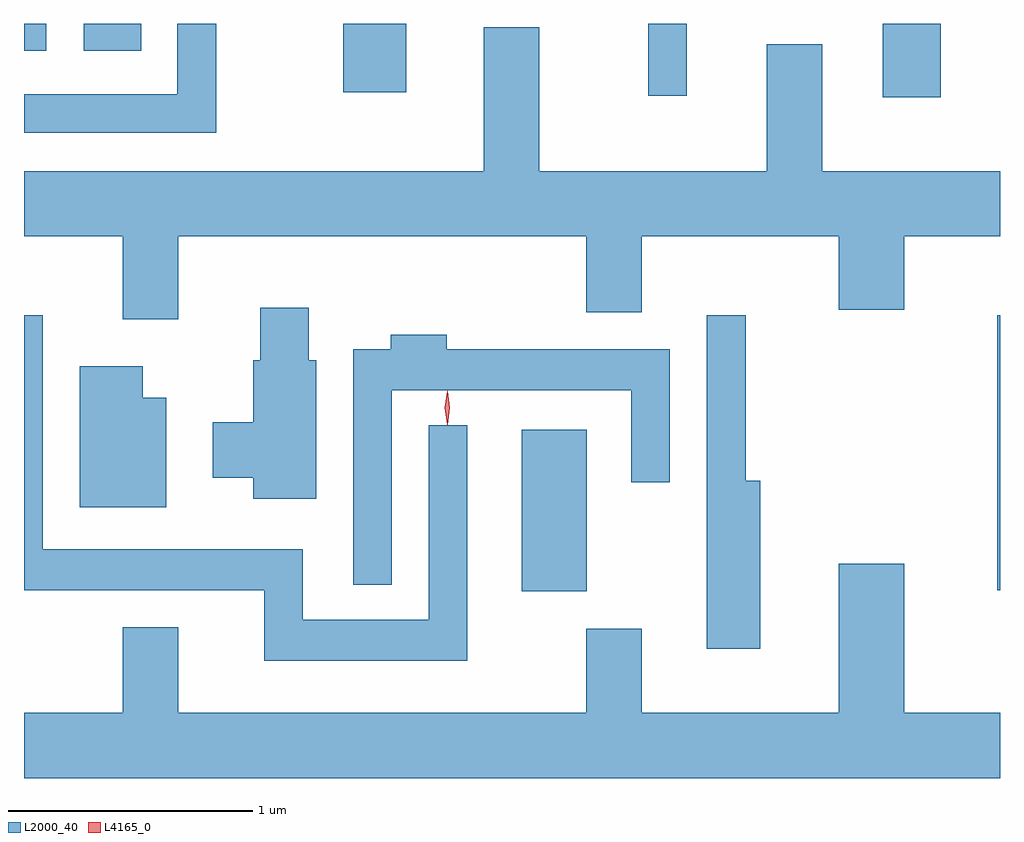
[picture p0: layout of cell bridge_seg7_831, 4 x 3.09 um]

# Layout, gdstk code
import gdstk
lib = gdstk.Library(unit=1e-6, precision=1e-09)
def R(c, l, rs):  # rectangles x0, y0, x1, y1
    for r in rs: c.add(gdstk.rectangle(r[:2], r[2:], *l))
def P(c, l, *ps):  # polygons
    for p in ps: c.add(gdstk.Polygon(p, *l))
L2000_40 = (2000, 40)
L4165_0 = (4165, 0)

bridge_seg7_831 = lib.new_cell('bridge_seg7_831')
R(bridge_seg7_831, L2000_40, [(313.676,1684.001,313.944,1684.664), (315.626,1684.006,315.637,1685.133), (315.156,1686.026,315.394,1686.327), (314.196,1686.033,314.354,1686.327), (312.946,1686.046,313.204,1686.327), (311.637,1686.216,311.729,1686.327), (311.881,1686.216,312.118,1686.327)])
P(bridge_seg7_831, L2000_40, [(312.424,1686.327),(312.266,1686.327),(312.266,1686.039),(311.637,1686.039),(311.637,1685.881),(312.424,1685.881)],
  [(311.637,1685.456),(312.041,1685.456),(312.041,1685.116),(312.269,1685.116),(312.269,1685.456),(313.941,1685.456),(313.941,1685.146),(314.169,1685.146),(314.169,1685.456),(314.976,1685.456),(314.976,1685.156),(315.244,1685.156),(315.244,1685.456),(315.637,1685.456),(315.637,1685.724),(314.909,1685.724),(314.909,1686.244),(314.681,1686.244),(314.681,1685.724),(313.749,1685.724),(313.749,1686.314),(313.521,1686.314),(313.521,1685.724),(311.637,1685.724)],
  [(312.834,1684.949),(312.804,1684.949),(312.804,1685.164),(312.606,1685.164),(312.606,1684.949),(312.576,1684.949),(312.576,1684.694),(312.411,1684.694),(312.411,1684.466),(312.576,1684.466),(312.576,1684.381),(312.834,1684.381)],
  [(314.654,1684.454),(314.594,1684.454),(314.594,1685.133),(314.436,1685.133),(314.436,1683.766),(314.654,1683.766)],
  [(313.454,1684.683),(313.296,1684.683),(313.296,1683.884),(312.779,1683.884),(312.779,1684.174),(311.714,1684.174),(311.714,1685.133),(311.637,1685.133),(311.637,1684.006),(312.621,1684.006),(312.621,1683.716),(313.454,1683.716)],
  [(313.144,1684.826),(314.126,1684.826),(314.126,1684.448),(314.284,1684.448),(314.284,1684.994),(313.369,1684.994),(313.369,1685.054),(313.141,1685.054),(313.141,1684.994),(312.986,1684.994),(312.986,1684.028),(313.144,1684.028)],
  [(312.219,1684.794),(312.124,1684.794),(312.124,1684.924),(311.866,1684.924),(311.866,1684.346),(312.219,1684.346)],
  [(315.637,1683.504),(315.244,1683.504),(315.244,1684.114),(314.976,1684.114),(314.976,1683.504),(314.169,1683.504),(314.169,1683.849),(313.941,1683.849),(313.941,1683.504),(312.269,1683.504),(312.269,1683.854),(312.041,1683.854),(312.041,1683.504),(311.637,1683.504),(311.637,1683.236),(315.637,1683.236)])
P(bridge_seg7_831, L4165_0, [(313.372,1684.684),(313.372,1684.684),(313.362,1684.753),(313.372,1684.822),(313.372,1684.823),(313.373,1684.822),(313.382,1684.753),(313.373,1684.684)])

lib.write_gds('bridge_seg7_831.gds')
